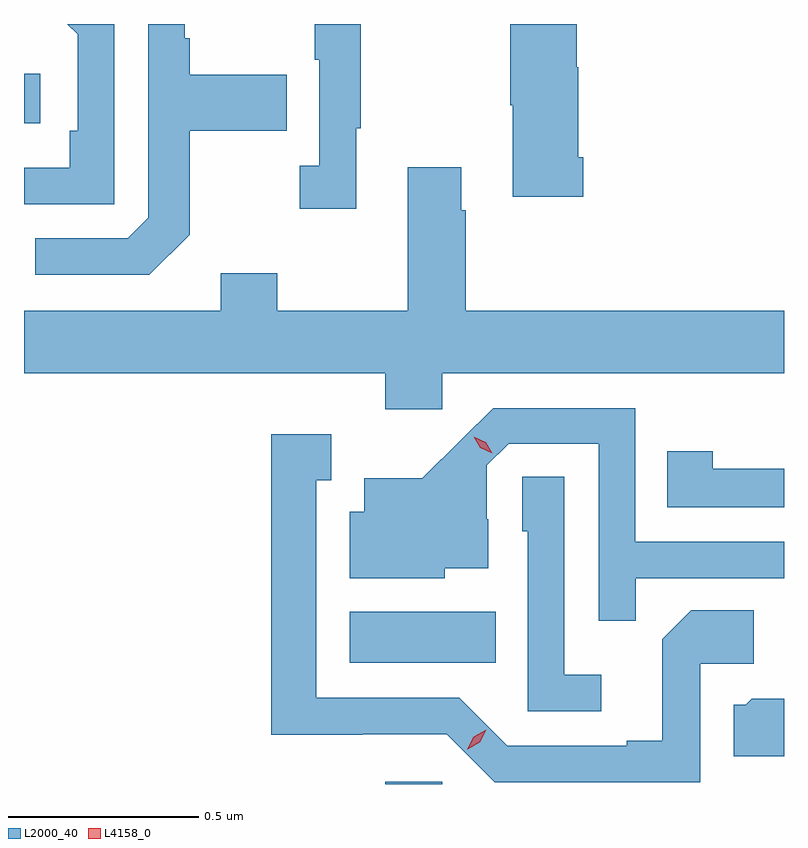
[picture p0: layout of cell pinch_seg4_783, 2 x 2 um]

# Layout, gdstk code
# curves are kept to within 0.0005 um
import gdstk
lib = gdstk.Library(unit=1e-6, precision=1e-09)
def R(c, l, rs):  # rectangles x0, y0, x1, y1
    for r in rs: c.add(gdstk.rectangle(r[:2], r[2:], *l))
def P(c, l, *ps):  # polygons
    for p in ps: c.add(gdstk.Polygon(p, *l))
L2000_40 = (2000, 40)
L4158_0 = (4158, 0)

pinch_seg4_783 = lib.new_cell('pinch_seg4_783')
R(pinch_seg4_783, L2000_40, [(795.029,825.043,795.18,825.049), (794.936,825.362,795.32,825.496), (794.079,826.782,794.122,826.912)])
P(pinch_seg4_783, L2000_40, [(795.551,826.693),(795.538,826.693),(795.538,826.929),(795.533,826.929),(795.533,827.043),(795.358,827.043),(795.358,826.829),(795.365,826.829),(795.365,826.589),(795.551,826.589)],
  [(794.953,826.769),(794.965,826.769),(794.965,827.043),(794.844,827.043),(794.844,826.949),(794.856,826.949),(794.856,826.67),(794.805,826.67),(794.805,826.557),(794.953,826.557)],
  [(794.316,827.043),(794.193,827.043),(794.22,827.016),(794.22,826.762),(794.2,826.762),(794.2,826.665),(794.079,826.665),(794.079,826.569),(794.316,826.569)],
  [(794.515,826.489),(794.515,826.762),(794.771,826.762),(794.771,826.909),(794.515,826.909),(794.515,827.005),(794.502,827.005),(794.502,827.043),(794.406,827.043),(794.406,826.533),(794.352,826.479),(794.109,826.479),(794.109,826.383),(794.409,826.383)],
  [(795.18,826.124),(796.079,826.124),(796.079,826.288),(795.242,826.288),(795.242,826.553),(795.229,826.553),(795.229,826.666),(795.089,826.666),(795.089,826.288),(794.745,826.288),(794.745,826.387),(794.597,826.387),(794.597,826.288),(794.079,826.288),(794.079,826.124),(795.029,826.124),(795.029,826.029),(795.18,826.029)],
  [(795.689,825.585),(796.079,825.585),(796.079,825.681),(795.687,825.681),(795.687,826.032),(795.314,826.032),(795.127,825.847),(794.975,825.847),(794.975,825.76),(794.936,825.76),(794.936,825.584),(795.186,825.584),(795.186,825.611),(795.301,825.611),(795.301,825.74),(795.297,825.74),(795.297,825.882),(795.354,825.939),(795.591,825.939),(795.591,825.472),(795.689,825.472)],
  [(795.858,825.36),(796,825.36),(796,825.5),(795.835,825.5),(795.759,825.424),(795.759,825.157),(795.665,825.157),(795.665,825.144),(795.351,825.144),(795.225,825.27),(794.848,825.27),(794.848,825.843),(794.887,825.843),(794.887,825.964),(794.73,825.964),(794.73,825.173),(794.97,825.173),(794.97,825.174),(795.192,825.174),(795.318,825.048),(795.858,825.048)],
  [(796.079,825.872),(795.891,825.872),(795.891,825.919),(795.772,825.919),(795.772,825.771),(796.079,825.771)],
  [(795.598,825.331),(795.501,825.331),(795.501,825.851),(795.39,825.851),(795.39,825.708),(795.405,825.708),(795.405,825.234),(795.598,825.234)],
  [(796.079,825.268),(795.994,825.268),(795.978,825.252),(795.947,825.252),(795.947,825.116),(796.079,825.116)])
P(pinch_seg4_783, L4158_0, [(795.311,825.913),(795.28,825.928),(795.263,825.957),(795.263,825.957),(795.263,825.957),(795.294,825.942),(795.311,825.913),(795.311,825.913)],
  [(795.246,825.134),(795.246,825.134),(795.263,825.167),(795.295,825.186),(795.295,825.186),(795.295,825.186),(795.278,825.153),(795.247,825.134)])

lib.write_gds('pinch_seg4_783.gds')
